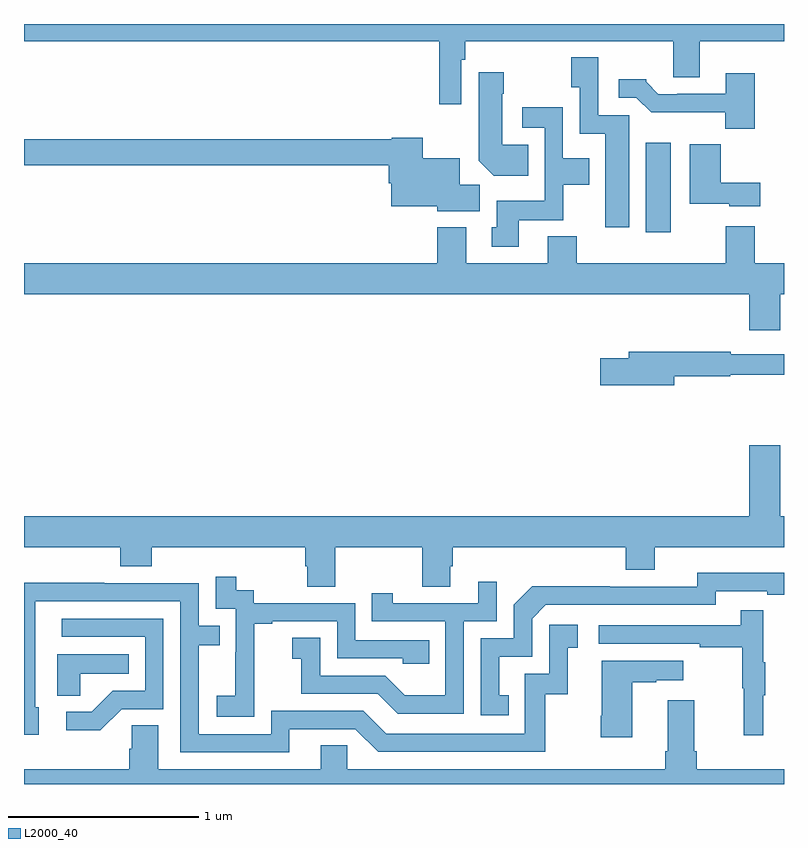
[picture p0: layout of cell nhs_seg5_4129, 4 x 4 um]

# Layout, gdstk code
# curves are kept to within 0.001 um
import gdstk
lib = gdstk.Library(unit=1e-6, precision=1e-09)
def R(c, l, rs):  # rectangles x0, y0, x1, y1
    for r in rs: c.add(gdstk.rectangle(r[:2], r[2:], *l))
def P(c, l, *ps):  # polygons
    for p in ps: c.add(gdstk.Polygon(p, *l))
L2000_40 = (2000, 40)

nhs_seg5_4129 = lib.new_cell('nhs_seg5_4129')
R(nhs_seg5_4129, L2000_40, [(356.273,907.704,356.404,908.173)])
P(nhs_seg5_4129, L2000_40, [(355.302,908.612),(355.322,908.612),(355.322,908.708),(356.417,908.708),(356.417,908.518),(356.557,908.518),(356.557,908.708),(357,908.708),(357,908.799),(353,908.799),(353,908.708),(355.186,908.708),(355.186,908.376),(355.302,908.376)],
  [(356.185,908.319),(356.022,908.319),(356.022,908.623),(355.879,908.623),(355.879,908.467),(355.926,908.467),(355.926,908.222),(356.06,908.222),(356.06,907.728),(356.185,907.728)],
  [(355.655,908.164),(355.516,908.164),(355.516,908.432),(355.524,908.432),(355.524,908.545),(355.394,908.545),(355.394,908.078),(355.472,908),(355.655,908)],
  [(356.846,908.539),(356.693,908.539),(356.693,908.433),(356.437,908.433),(356.437,908.43),(356.338,908.43),(356.274,908.494),(356.274,908.509),(356.13,908.509),(356.13,908.412),(356.223,908.412),(356.302,908.334),(356.691,908.334),(356.691,908.249),(356.846,908.249)],
  [(355.603,907.766),(355.839,907.766),(355.839,907.952),(355.975,907.952),(355.975,908.092),(355.836,908.092),(355.836,908.362),(355.623,908.362),(355.623,908.253),(355.74,908.253),(355.74,907.87),(355.487,907.87),(355.487,907.728),(355.463,907.728),(355.463,907.626),(355.603,907.626)],
  [(355.399,907.952),(355.294,907.952),(355.294,908.092),(355.098,908.092),(355.098,908.2),(354.936,908.2),(354.936,908.192),(353,908.192),(353,908.056),(354.92,908.056),(354.92,907.962),(354.932,907.962),(354.932,907.841),(355.176,907.841),(355.176,907.814),(355.399,907.814)],
  [(356.875,907.963),(356.666,907.963),(356.666,908.167),(356.504,908.167),(356.504,907.853),(356.712,907.853),(356.712,907.841),(356.875,907.841)],
  [(356.98,907.376),(357,907.376),(357,907.54),(356.846,907.54),(356.846,907.735),(356.693,907.735),(356.693,907.54),(355.91,907.54),(355.91,907.681),(355.757,907.681),(355.757,907.54),(355.327,907.54),(355.327,907.729),(355.175,907.729),(355.175,907.54),(353,907.54),(353,907.376),(356.816,907.376),(356.816,907.188),(356.98,907.188)],
  [(356.422,906.946),(356.718,906.946),(356.718,906.954),(357,906.954),(357,907.062),(356.72,907.062),(356.72,907.075),(356.183,907.075),(356.183,907.041),(356.034,907.041),(356.034,906.899),(356.422,906.899)],
  [(354.639,906.044),(355.096,906.044),(355.096,905.836),(355.243,905.836),(355.243,905.946),(355.256,905.946),(355.256,906.044),(356.168,906.044),(356.168,905.927),(356.32,905.927),(356.32,906.044),(357,906.044),(357,906.208),(356.98,906.208),(356.98,906.583),(356.816,906.583),(356.816,906.208),(353,906.208),(353,906.044),(353.507,906.044),(353.507,905.945),(353.672,905.945),(353.672,906.044),(354.479,906.044),(354.479,905.946),(354.491,905.946),(354.491,905.836),(354.639,905.836)],
  [(355.55,905.265),(355.501,905.265),(355.501,905.469),(355.674,905.469),(355.674,905.67),(355.746,905.742),(356.64,905.742),(356.64,905.814),(356.912,905.814),(356.912,905.794),(357,905.794),(357,905.91),(356.544,905.911),(356.544,905.838),(356.084,905.838),(356.084,905.84),(355.676,905.84),(355.578,905.742),(355.578,905.565),(355.404,905.565),(355.404,905.16),(355.55,905.16)],
  [(354.213,905.359),(354.212,905.359),(354.212,905.643),(354.307,905.643),(354.307,905.655),(354.648,905.655),(354.648,905.46),(354.993,905.46),(354.993,905.433),(355.133,905.433),(355.133,905.556),(354.744,905.556),(354.744,905.751),(354.21,905.751),(354.21,905.82),(354.118,905.82),(354.118,905.89),(354.009,905.89),(354.009,905.721),(354.114,905.721),(354.114,905.492),(354.113,905.492),(354.113,905.263),(354.015,905.263),(354.015,905.153),(354.213,905.153)],
  [(355.314,905.655),(355.488,905.655),(355.488,905.863),(355.391,905.863),(355.391,905.751),(354.94,905.751),(354.94,905.803),(354.829,905.803),(354.829,905.655),(355.218,905.655),(355.218,905.266),(355.004,905.266),(354.9,905.37),(354.558,905.37),(354.558,905.569),(354.411,905.569),(354.411,905.459),(354.46,905.459),(354.46,905.274),(354.863,905.274),(354.968,905.169),(355.314,905.169)],
  [(354.397,905.088),(354.744,905.088),(354.864,904.968),(355.744,904.968),(355.744,905.271),(355.862,905.271),(355.862,905.517),(355.915,905.517),(355.915,905.638),(355.764,905.638),(355.764,905.379),(355.635,905.379),(355.635,905.064),(354.906,905.064),(354.786,905.184),(354.3,905.184),(354.3,905.061),(353.919,905.061),(353.919,905.53),(354.029,905.53),(354.029,905.631),(353.919,905.631),(353.919,905.856),(353.423,905.856),(353.423,905.858),(353,905.858),(353,905.058),(353.077,905.058),(353.077,905.202),(353.058,905.202),(353.058,905.76),(353.823,905.76),(353.823,904.965),(354.397,904.965)],
  [(356.891,905.267),(356.902,905.267),(356.902,905.441),(356.891,905.441),(356.891,905.713),(356.773,905.713),(356.773,905.634),(356.025,905.634),(356.025,905.538),(356.557,905.538),(356.557,905.518),(356.781,905.518),(356.781,905.304),(356.788,905.304),(356.788,905.055),(356.891,905.055)],
  [(353.514,905.193),(353.733,905.193),(353.733,905.67),(353.199,905.67),(353.199,905.574),(353.637,905.574),(353.637,905.289),(353.468,905.289),(353.357,905.178),(353.223,905.178),(353.223,905.081),(353.401,905.081)],
  [(353.295,905.378),(353.552,905.378),(353.552,905.482),(353.174,905.482),(353.174,905.263),(353.295,905.263)],
  [(356.2,905.335),(356.327,905.335),(356.327,905.345),(356.47,905.345),(356.47,905.449),(356.042,905.449),(356.042,905.158),(356.035,905.158),(356.035,905.046),(356.2,905.046)],
  [(354.563,905.003),(354.563,904.876),(353.707,904.876),(353.707,905.108),(353.568,905.108),(353.568,904.985),(353.555,904.985),(353.555,904.876),(353,904.876),(353,904.799),(357,904.799),(357,904.876),(356.54,904.876),(356.54,904.972),(356.527,904.972),(356.527,905.239),(356.387,905.239),(356.387,904.972),(356.375,904.972),(356.375,904.876),(354.702,904.876),(354.702,905.003)])

lib.write_gds('nhs_seg5_4129.gds')
